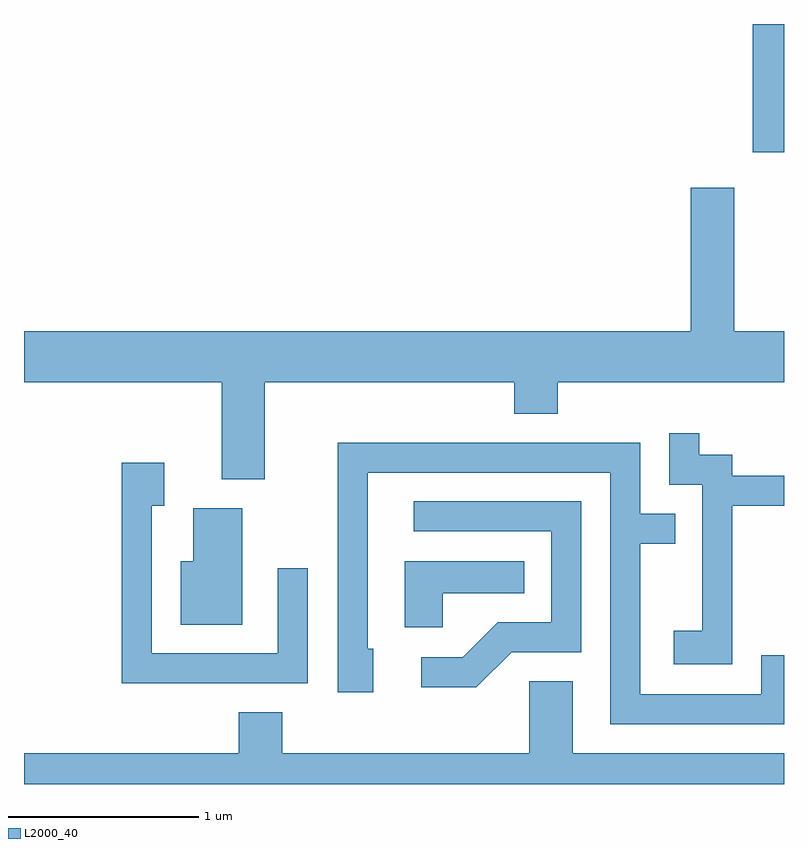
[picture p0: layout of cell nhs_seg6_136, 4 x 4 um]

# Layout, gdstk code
import gdstk
lib = gdstk.Library(unit=1e-6, precision=1e-09)
def R(c, l, rs):  # rectangles x0, y0, x1, y1
    for r in rs: c.add(gdstk.rectangle(r[:2], r[2:], *l))
def P(c, l, *ps):  # polygons
    for p in ps: c.add(gdstk.Polygon(p, *l))
L2000_40 = (2000, 40)

nhs_seg6_136 = lib.new_cell('nhs_seg6_136')
R(nhs_seg6_136, L2000_40, [(193.446,1533.486,193.611,1534.162)])
P(nhs_seg6_136, L2000_40, [(190.879,1532.276),(192.191,1532.276),(192.191,1532.111),(192.419,1532.111),(192.419,1532.276),(193.611,1532.276),(193.611,1532.544),(193.349,1532.544),(193.349,1533.299),(193.121,1533.299),(193.121,1532.544),(189.611,1532.544),(189.611,1532.276),(190.651,1532.276),(190.651,1531.766),(190.879,1531.766)],
  [(193.339,1531.626),(193.611,1531.626),(193.611,1531.784),(193.339,1531.784),(193.339,1531.894),(193.164,1531.894),(193.164,1532.008),(193.006,1532.008),(193.006,1531.736),(193.181,1531.736),(193.181,1530.969),(193.031,1530.969),(193.031,1530.791),(193.339,1530.791)],
  [(193.611,1530.839),(193.491,1530.839),(193.491,1530.634),(192.854,1530.634),(192.854,1531.426),(193.038,1531.426),(193.038,1531.584),(192.854,1531.584),(192.854,1531.959),(191.261,1531.959),(191.261,1530.646),(191.449,1530.646),(191.449,1530.874),(191.419,1530.874),(191.419,1531.801),(192.696,1531.801),(192.696,1530.476),(193.611,1530.476)],
  [(191.104,1531.298),(190.946,1531.298),(190.946,1530.849),(190.284,1530.849),(190.284,1531.626),(190.349,1531.626),(190.349,1531.854),(190.126,1531.854),(190.126,1530.691),(191.104,1530.691)],
  [(192.177,1530.856),(192.544,1530.856),(192.544,1531.649),(191.663,1531.649),(191.663,1531.491),(192.386,1531.491),(192.386,1531.014),(192.104,1531.014),(191.919,1530.829),(191.703,1530.829),(191.703,1530.671),(191.992,1530.671)],
  [(190.759,1531.614),(190.501,1531.614),(190.501,1531.334),(190.436,1531.334),(190.436,1531.001),(190.759,1531.001)],
  [(191.814,1531.166),(192.243,1531.166),(192.243,1531.334),(191.616,1531.334),(191.616,1530.986),(191.814,1530.986)],
  [(193.611,1530.324),(192.499,1530.324),(192.499,1530.704),(192.271,1530.704),(192.271,1530.324),(190.969,1530.324),(190.969,1530.539),(190.741,1530.539),(190.741,1530.324),(189.611,1530.324),(189.611,1530.162),(193.611,1530.162)])

lib.write_gds('nhs_seg6_136.gds')
